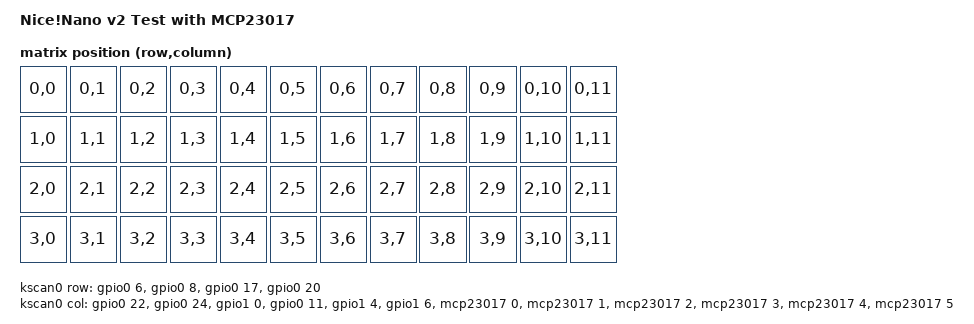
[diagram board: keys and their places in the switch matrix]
/*
 * Тестовая конфигурация для Nice!Nano v2 с MCP23017
 * Проверка всех GPIO на обеих платах
 */

/dts-v1/;
#include <nordic/nrf52840_qiaa.dtsi>
#include <dt-bindings/zmk/matrix_transform.h>

/ {
    model = "Nice!Nano v2 Test with MCP23017";
    compatible = "nice,nano,v2", "nordic,nrf52840-qiaa", "nordic,nrf52840";

    chosen {
        zephyr,code-partition = &code_partition;
        zephyr,sram = &sram0;
        zephyr,flash = &flash0;
        zephyr,console = &cdc_acm_uart;
        zmk,battery = &vbatt;
        zmk,kscan = &kscan0;
        zmk,matrix_transform = &default_transform;
    };

    // Настройка GPIO для Nice!Nano v2
    // Левая сторона - GPIO Nice!Nano
    // Правая сторона - GPIO MCP23017
    default_transform: keymap_transform_0 {
        compatible = "zmk,matrix-transform";
        columns = <12>;
        rows = <4>;
        map = <
            RC(0,0) RC(0,1) RC(0,2) RC(0,3) RC(0,4) RC(0,5)  RC(0,6) RC(0,7) RC(0,8) RC(0,9) RC(0,10) RC(0,11)
            RC(1,0) RC(1,1) RC(1,2) RC(1,3) RC(1,4) RC(1,5)  RC(1,6) RC(1,7) RC(1,8) RC(1,9) RC(1,10) RC(1,11)
            RC(2,0) RC(2,1) RC(2,2) RC(2,3) RC(2,4) RC(2,5)  RC(2,6) RC(2,7) RC(2,8) RC(2,9) RC(2,10) RC(2,11)
            RC(3,0) RC(3,1) RC(3,2) RC(3,3) RC(3,4) RC(3,5)  RC(3,6) RC(3,7) RC(3,8) RC(3,9) RC(3,10) RC(3,11)
        >;
    };

    kscan0: kscan {
        compatible = "zmk,kscan-gpio-matrix";
        label = "KSCAN";

        diode-direction = "col2row";
        
        // Строки - используем GPIO Nice!Nano
        row-gpios
            = <&gpio0 6  (GPIO_ACTIVE_HIGH | GPIO_PULL_DOWN)>    // P0.06
            , <&gpio0 8  (GPIO_ACTIVE_HIGH | GPIO_PULL_DOWN)>    // P0.08  
            , <&gpio0 17 (GPIO_ACTIVE_HIGH | GPIO_PULL_DOWN)>    // P0.17
            , <&gpio0 20 (GPIO_ACTIVE_HIGH | GPIO_PULL_DOWN)>    // P0.20
            ;

        // Столбцы - комбинация Nice!Nano и MCP23017
        col-gpios
            // Nice!Nano GPIO
            = <&gpio0 22 GPIO_ACTIVE_HIGH>    // P0.22 - D4
            , <&gpio0 24 GPIO_ACTIVE_HIGH>    // P0.24 - D5
            , <&gpio1 0  GPIO_ACTIVE_HIGH>    // P1.00 - D6
            , <&gpio0 11 GPIO_ACTIVE_HIGH>    // P0.11 - D7
            , <&gpio1 4  GPIO_ACTIVE_HIGH>    // P1.04 - D8
            , <&gpio1 6  GPIO_ACTIVE_HIGH>    // P1.06 - D9
            
            // MCP23017 GPIO Port A (GPA0-GPA5)
            , <&mcp23017 0 GPIO_ACTIVE_HIGH>  // GPA0
            , <&mcp23017 1 GPIO_ACTIVE_HIGH>  // GPA1
            , <&mcp23017 2 GPIO_ACTIVE_HIGH>  // GPA2
            , <&mcp23017 3 GPIO_ACTIVE_HIGH>  // GPA3
            , <&mcp23017 4 GPIO_ACTIVE_HIGH>  // GPA4
            , <&mcp23017 5 GPIO_ACTIVE_HIGH>  // GPA5
            ;
    };

    // Настройка батареи для Nice!Nano
    vbatt: vbatt {
        compatible = "zmk,battery-voltage-divider";
        label = "BATTERY";
        io-channels = <&adc 2>;
        output-ohms = <2000000>;
        full-ohms = <(2000000 + 806000)>;
    };
};

// Конфигурация I2C для подключения MCP23017
&i2c0 {
    status = "okay";
    compatible = "nordic,nrf-twi";
    pinctrl-0 = <&i2c0_default>;
    pinctrl-1 = <&i2c0_sleep>;
    pinctrl-names = "default", "sleep";
    clock-frequency = <100000>;

    mcp23017: mcp23017@20 {
        compatible = "microchip,mcp23017";
        status = "okay";
        reg = <0x20>;
        label = "MCP23017";
        gpio-controller;
        #gpio-cells = <2>;
        ngpios = <16>;
    };
};

// Настройка пинов I2C
&pinctrl {
    i2c0_default: i2c0_default {
        group1 {
            psels = <NRF_PSEL(TWIM_SDA, 0, 31)>,    // P0.31 - SDA (D21)
                    <NRF_PSEL(TWIM_SCL, 0, 29)>;     // P0.29 - SCL (D20)
        };
    };

    i2c0_sleep: i2c0_sleep {
        group1 {
            psels = <NRF_PSEL(TWIM_SDA, 0, 31)>,
                    <NRF_PSEL(TWIM_SCL, 0, 29)>;
            low-power-enable;
        };
    };
};

&adc {
    status = "okay";
};

&gpiote {
    status = "okay";
};

&gpio0 {
    status = "okay";
};

&gpio1 {
    status = "okay";
};

&usbd {
    status = "okay";
    cdc_acm_uart: cdc_acm_uart {
        compatible = "zephyr,cdc-acm-uart";
        label = "CDC_ACM_0";
    };
};
